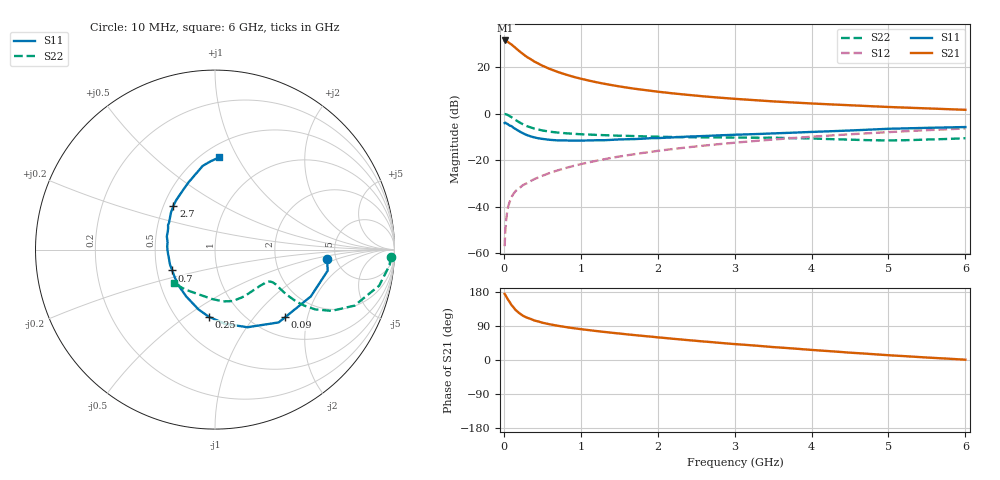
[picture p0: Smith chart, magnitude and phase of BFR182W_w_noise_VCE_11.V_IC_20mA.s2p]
! (c) 2017  Infineon Technologies AG, Munich
! Infineon Technologies  Discrete & RF Semiconductors
! BFR182W
! VCE =  11. V,  IC =  20 mA
! Common Emitter S-Parameters:  Jan 2017
# GHz  S  MA  R  50
!  f  S11  S21  S12  S22
! GHz  MAG  ANG  MAG  ANG  MAG  ANG  MAG  ANG
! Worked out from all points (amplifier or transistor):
!   77 points, 10 MHz to 6 GHz, reference 50 ohm
!   highest |S21| = 31.5 dB at 20 MHz (marker M1)
!   |S21| within 3 dB of that: start of sweep to 144.4 MHz
!   unconditionally stable (mu >= 1): 865.9 MHz to 2.403 GHz
!   at 130 MHz: K = 0.43, MSG = 31.6 dB, |S12| = -34.3 dB
!   at 2.2 GHz: K = 1.01, MAG = 11.3 dB, |S12| = -15.2 dB
!   at 6 GHz: K = 0.86, MSG = 4.0 dB, |S12| = -6.4 dB
!   lowest NFmin = 1.41 dB at 450 MHz
!   S11 on the Smith chart (normalised r, x): 10 MHz: 4.22, -0.75; 90 MHz: 1.37, -1.47; 250 MHz: 0.71, -0.62; 700 MHz: 0.60, -0.15; 2.7 GHz: 0.56, +0.31; 6 GHz: 0.61, +0.84
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0.01  0.6271 -4.9  37.49 174.6  0.0014 76.2  0.98 -2.3
0.02  0.6387 -10.6  37.56 171.3  0.0032 88.6  0.9764 -5.1
0.05  0.5941 -26.1  35.26 160.5  0.009 75.1  0.9366 -12.4
0.09  0.5428 -44.0  31.47 148.2  0.0146 70.4  0.8555 -19.8
0.1  0.539 -48.8  30.78 144.7  0.016 69.7  0.8377 -21.9
0.15  0.4689 -67.3  26.13 132.6  0.0213 65.4  0.7343 -27.7
0.2  0.417 -82.4  22.17 123.7  0.0248 65.7  0.651 -30.8
0.25  0.3758 -95.2  19.08 116.7  0.029 64.0  0.5874 -32.1
0.3  0.3456 -105.5  16.57 111.7  0.0318 64.4  0.5367 -32.6
0.4  0.3061 -121.7  13.11 104.0  0.0391 65.8  0.4728 -32.2
0.5  0.2855 -134.7  10.75 98.5  0.0458 66.2  0.4337 -31.3
0.6  0.2728 -145.3  9.124 94.1  0.053 67.4  0.4078 -30.5
0.7  0.2649 -154.0  7.895 90.4  0.06 68.9  0.3904 -29.8
0.9  0.2615 -168.1  6.226 84.1  0.0743 70.5  0.3682 -29.6
1.1  0.2642 -178.8  5.164 79.0  0.0889 70.6  0.354 -30.2
1.5  0.2783 164.6  3.853 69.9  0.119 69.6  0.3341 -33.7
2.1  0.3023 146.9  2.843 58.0  0.1653 66.8  0.3158 -43.0
2.7  0.3346 133.9  2.277 47.2  0.2123 63.0  0.3073 -55.2
3.1  0.3547 126.0  2.029 40.6  0.244 60.0  0.3041 -63.3
4.1  0.4087 109.9  1.623 25.2  0.3259 51.9  0.2877 -83.6
5.1  0.4757 97.1  1.369 11.4  0.4074 42.5  0.2658 -113.0
6  0.5139 87.3  1.207 0.8  0.4783 33.7  0.2952 -140.3
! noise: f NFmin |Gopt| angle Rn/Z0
0.45  1.41  0.11  -176  0.15
0.9  1.49  0.11  -171  0.15
1.9  2  0.28  -142  0.16
2.4  2.26  0.29  -128  0.26
